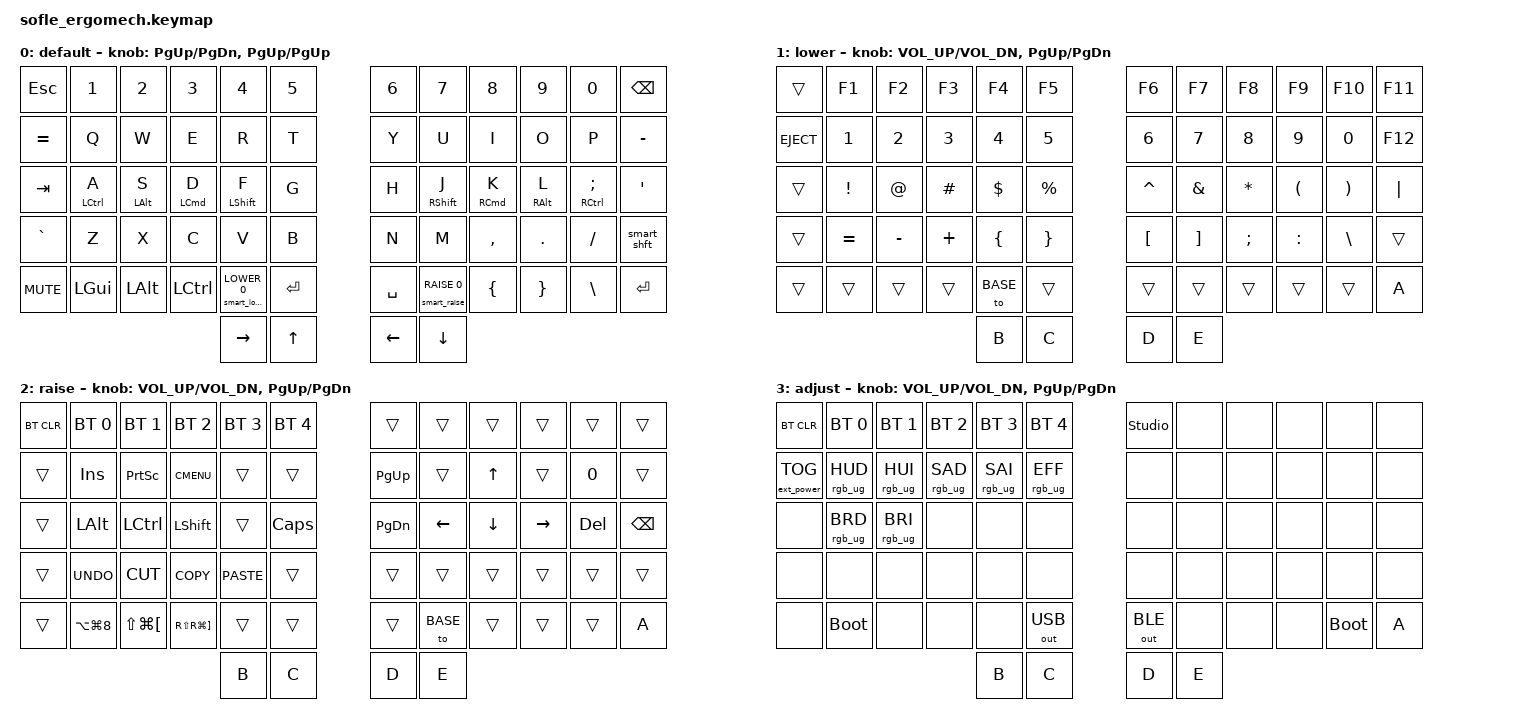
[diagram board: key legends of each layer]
/*
 * Copyright (c) 2020 The ZMK Contributors
 *
 * SPDX-License-Identifier: MIT
 */

#include <behaviors.dtsi>
#include <dt-bindings/zmk/bt.h>
#include <dt-bindings/zmk/ext_power.h>
#include <dt-bindings/zmk/keys.h>
#include <dt-bindings/zmk/outputs.h>
#include <dt-bindings/zmk/rgb.h>

// main adopted v2 on 2024-07-24
#include "zmk-helpers/helper.h"
#include "zmk-helpers/key-labels/sofle.h"

#include "urob-hrmods.h"

#define BASE 0
#define LOWER 1
#define RAISE 2
#define ADJUST 3



#include "sofle_ergomech.physical"

// macOS shortcuts

#define NEXT_TAB  &kp RS(RG(RIGHT_BRACKET))
#define PREV_TAB  &kp LS(LG(LEFT_BRACKET))

#define MAGNIFY   &kp    LA(LG(N8))
#define INVERT    &kp LC(LA(LG(N8)))

// K_EJECT not supported under macOS
// https://zmk.dev/docs/codes

// Single kp fails, see https://github.com/zmkfirmware/zmk/issues/2383

// #define DISPLAY_SLEEP  LS(LC(K_EJECT))
// #define D_SLP  &kp DISPLAY_SLEEP

// ZMK_MACRO(zzz, bindings = <&kp Z &kp Z &kp Z>;)

ZMK_MACRO(d_slp, bindings = \
	  <&macro_press &kp LSHFT>, \
	  <&macro_press &kp LCTRL>, \
	  <&macro_tap &kp K_EJECT>, \
	  <&macro_release &kp LCTRL>, \
	  <&macro_release &kp LSHFT>; \
	  )



/* jmk -- Layer buttons: tap - sticky | double - lock | hold - layer on */

// https://zmk.dev/docs/behaviors/layers
// 	&mo n    -- momentary
// 	&lt n kc -- layer when held, key when tapped
// 	&to n    -- enable layer, disable others except default
// 	&tog n   -- enable layer until disabled

// https://zmk.dev/docs/behaviors/sticky-layer
//	&sl n -- releases on next key down

// /* Global settings */

// #define QUICK_TAP_MS 175

// &sk {  // sticky-key config
//     release-after-ms = <900>;  // release after 0.6s
//     quick-release;             // no double capitalization when rolling keys
// };

// &sl {  // sticky-layer config
//     ignore-modifiers;          // allow chording sticky mods & layers
// };

// &lt {  // layer-tap config
//     flavor = "balanced";
//     tapping-term-ms = <200>;
//     quick-tap-ms = <QUICK_TAP_MS>;
// };

// ZMK_TAP_DANCE(raise_dance,
//     tapping-term-ms = <200>;
//     bindings = <&sl RAISE>, <&to RAISE>;
// )
// ZMK_TAP_DANCE(lower_dance,
//     tapping-term-ms = <200>;
//     bindings = <&sl LOWER>, <&to LOWER>;
// )

// This isn't clear to me why the intermediate behavior is needed

// ZMK_HOLD_TAP(raise_3way,
//     flavor = "balanced";
//     tapping-term-ms = <200>;
//     quick-tap-ms = <175>;
//     bindings = <&mo RAISE &raise_dance>;
// )
// ZMK_HOLD_TAP(lower_3way,
//     flavor = "balanced";
//     tapping-term-ms = <200>;
//     quick-tap-ms = <175>;
//     bindings = <&mo LOWER &lower_dance>;
// )


/* https://zmk.dev/docs/behaviors/hold-tap#using-different-behavior-types-with-hold-taps */

/*     You cannot use behaviors that expect more than one parameter such as  */
/*     &bt and &rgb_ug with hold-taps, due to the limitations of the         */
/*     devicetree keymap format. One workaround is to create a macro that    */
/*     invokes those behaviors and use the macro as the hold or tap action.  */

ZMK_MACRO(mo_lower, bindings = <&mo LOWER>;)
ZMK_MACRO(sl_lower, bindings = <&sl LOWER>;)
ZMK_MACRO(to_lower, bindings = <&to LOWER>;)

ZMK_MACRO(mo_raise, bindings = <&mo RAISE>;)
ZMK_MACRO(sl_raise, bindings = <&sl RAISE>;)
ZMK_MACRO(to_raise, bindings = <&to RAISE>;)

ZMK_HOLD_TAP(layer_ht, tapping-term-ms = <200>; bindings = <&mo>, <&sl>;)

#define LHT(layer) &layer_ht layer layer

/* hold-tap(&mo, tap-dance(&sl, &to)) */

ZMK_HOLD_TAP(smart_raise, tapping-term-ms = <200>; quick-tap-ms = <175>; bindings = <&mo>, <&raise_td>;)
ZMK_HOLD_TAP(smart_lower, tapping-term-ms = <200>; quick-tap-ms = <175>; bindings = <&mo>, <&lower_td>;)

#define S_RAISE &smart_raise RAISE 0
#define S_LOWER &smart_lower LOWER 0

/ {
    bindings {

        raise_td: raise_td {
            compatible = "zmk,behavior-tap-dance";
            #binding-cells = <0>;
	    tapping-term-ms = <200>;
            bindings = <&sl RAISE>, <&to RAISE>;
        };

        lower_td: lower_td {
            compatible = "zmk,behavior-tap-dance";
            #binding-cells = <0>;
	    tapping-term-ms = <200>;
            bindings = <&sl LOWER>, <&to LOWER>;
        };
    };
};


/ {

    // Activate ADJUST layer by pressing raise and lower

    conditional_layers {
        compatible = "zmk,conditional-layers";

        adjust_layer {
            if-layers = <LOWER RAISE>;
            then-layer = <ADJUST>;
        };
    };


    keymap {
        compatible = "zmk,keymap";

        default_layer {
            label = "default";

            bindings = <
//╭──────╮ ╭─────────────┬─────────────┬─────────────┬─────────────┬─────────────╮                   ╭─────────────┬─────────────┬─────────────┬─────────────┬─────────────╮ ╭──────╮
  &kp ESC      &kp N1        &kp N2        &kp N3        &kp N4        &kp N5                            &kp N6        &kp N7        &kp N8        &kp N9        &kp N0      &kp BSPC
//├──────┤ ├─────────────┼─────────────┼─────────────┼─────────────┼─────────────┤                   ├─────────────┼─────────────┼─────────────┼─────────────┼─────────────┤ ├──────┤
  &kp EQUAL    &kp Q         &kp W         &kp E         &kp R         &kp T                             &kp Y         &kp U         &kp I         &kp O         &kp P       &kp MINUS
//├──────┤ ├─────────────┼─────────────┼─────────────┼─────────────┼─────────────┤                   ├─────────────┼─────────────┼─────────────┼─────────────┼─────────────┤ ├──────┤
  &kp TAB   &hml LCTRL A  &hml LALT S   &hml LCMD D   &hml LSHFT F     &kp G                             &kp H      &hmr RSHFT J  &hmr RCMD K   &hmr RALT L   &hmr RCTRL SEMI &kp SQT
//├──────┤ ├─────────────┼─────────────┼─────────────┼─────────────┼─────────────┤                   ├─────────────┼─────────────┼─────────────┼─────────────┼─────────────┤ ├──────┤
  &kp GRAVE    &kp Z         &kp X         &kp C         &kp V         &kp B                             &kp N         &kp M        &kp COMMA      &kp DOT       &kp FSLH    &smart_shft
//├──────┤ ╰─────────────┼─────────────┼─────────────┼─────────────┼─────────────┤ ╭──────╮ ╭──────╮ ├─────────────┼─────────────┼─────────────┼─────────────┼─────────────╯ ├──────┤
  &kp C_MUTE                &kp LGUI      &kp LALT      &kp LCTRL      S_LOWER     &kp RET  &kp SPACE    S_RAISE      &kp LBRC      &kp RBRC       &kp BSLH                  &kp ENTER
//╰──────╯               ╰─────────────┴─────────────┴─────────────┴─────────────╯ ╰──────╯ ╰──────╯ ╰─────────────┴─────────────┴─────────────┴─────────────╯               ╰──────╯
// Roller                                                                                                                                                                     Stick
//                                                                                               Right         Left           Up           Down
//                                                                                          ╭─────────────┬─────────────┬─────────────┬─────────────╮
                                                                                               &kp RIGHT   &kp UP_ARROW    &kp LEFT      &kp DOWN
//                                                                                          ╰─────────────┴─────────────┴─────────────┴─────────────╯
            >;

            sensor-bindings = <&inc_dec_kp PG_UP PG_DN     &inc_dec_kp PG_UP PG_UP>;
        };

        lower_layer {
            label = "lower";

            // TODO: Some binds are waiting for shifted keycode support.

            bindings = <

//╭──────╮ ╭─────────────┬─────────────┬─────────────┬─────────────┬─────────────╮                   ╭─────────────┬─────────────┬─────────────┬─────────────┬─────────────╮ ╭──────╮
   &trans      &kp F1        &kp F2        &kp F3        &kp F4        &kp F5                            &kp F6        &kp F7        &kp F8        &kp F9        &kp F10     &kp F11
//├──────┤ ├─────────────┼─────────────┼─────────────┼─────────────┼─────────────┤                   ├─────────────┼─────────────┼─────────────┼─────────────┼─────────────┤ ├──────┤
   &kp K_EJECT      &kp N1        &kp N2        &kp N3        &kp N4        &kp N5                            &kp N6        &kp N7        &kp N8        &kp N9        &kp N0      &kp F12
//├──────┤ ├─────────────┼─────────────┼─────────────┼─────────────┼─────────────┤                   ├─────────────┼─────────────┼─────────────┼─────────────┼─────────────┤ ├──────┤
   &trans     &kp EXCL       &kp AT       &kp HASH      &kp DLLR      &kp PRCNT                         &kp CARET     &kp AMPS     &kp ASTRK      &kp LPAR      &kp RPAR     &kp PIPE
//├──────┤ ├─────────────┼─────────────┼─────────────┼─────────────┼─────────────┤                   ├─────────────┼─────────────┼─────────────┼─────────────┼─────────────┤ ├──────┤
   &trans     &kp EQUAL     &kp MINUS     &kp PLUS      &kp LBRC      &kp RBRC                          &kp LBKT      &kp RBKT      &kp SEMI      &kp COLON     &kp BSLH      &trans
//├──────┤ ╰─────────────┼─────────────┼─────────────┼─────────────┼─────────────┤ ╭──────╮ ╭──────╮ ├─────────────┼─────────────┼─────────────┼─────────────┼─────────────╯ ├──────┤
   &trans                    &trans        &trans        &trans        &to BASE     &trans   &trans      &trans        &trans        &trans        &trans                     &kp A
//╰──────╯               ╰─────────────┴─────────────┴─────────────┴─────────────╯ ╰──────╯ ╰──────╯ ╰─────────────┴─────────────┴─────────────┴─────────────╯               ╰──────╯
// Roller                                                                                                                                                                     Stick
//                                                                                               Right         Left           Up           Down
//                                                                                          ╭─────────────┬─────────────┬─────────────┬─────────────╮
                                                                                                 &kp B         &kp C         &kp D         &kp E
//                                                                                          ╰─────────────┴─────────────┴─────────────┴─────────────╯

            >;

            sensor-bindings = <&inc_dec_kp C_VOL_UP C_VOL_DN &inc_dec_kp PG_UP PG_DN>;
        };

        raise_layer {
            label = "raise";

            bindings = <
//╭──────╮ ╭─────────────┬─────────────┬─────────────┬─────────────┬─────────────╮                   ╭─────────────┬─────────────┬─────────────┬─────────────┬─────────────╮ ╭──────╮
  &bt BT_CLR &bt BT_SEL 0  &bt BT_SEL 1  &bt BT_SEL 2  &bt BT_SEL 3  &bt BT_SEL 4                       &trans          &trans       &trans        &trans        &trans       &trans
//├──────┤ ├─────────────┼─────────────┼─────────────┼─────────────┼─────────────┤                   ├─────────────┼─────────────┼─────────────┼─────────────┼─────────────┤ ├──────┤
   &trans      &kp INS      &kp PSCRN    &kp K_CMENU    &trans        &trans                            &kp PG_UP       &trans       &kp UP        &trans        &kp N0       &trans
//├──────┤ ├─────────────┼─────────────┼─────────────┼─────────────┼─────────────┤                   ├─────────────┼─────────────┼─────────────┼─────────────┼─────────────┤ ├──────┤
   &trans      &kp LALT     &kp LCTRL     &kp LSHFT     &trans        &kp CLCK                          &kp PG_DN      &kp LEFT     &kp DOWN      &kp RIGHT      &kp DEL     &kp BSPC
//├──────┤ ├─────────────┼─────────────┼─────────────┼─────────────┼─────────────┤                   ├─────────────┼─────────────┼─────────────┼─────────────┼─────────────┤ ├──────┤
   &trans    &kp K_UNDO     &kp K_CUT    &kp K_COPY    &kp K_PASTE    &trans                             &trans         &trans       &trans        &trans        &trans       &trans
//├──────┤ ╰─────────────┼─────────────┼─────────────┼─────────────┼─────────────┤ ╭──────╮ ╭──────╮ ├─────────────┼─────────────┼─────────────┼─────────────┼─────────────╯ ├──────┤
   &trans                    MAGNIFY      PREV_TAB      NEXT_TAB      &trans        &trans   &trans     &to BASE        &trans       &trans        &trans                     &kp A
//╰──────╯               ╰─────────────┴─────────────┴─────────────┴─────────────╯ ╰──────╯ ╰──────╯ ╰─────────────┴─────────────┴─────────────┴─────────────╯               ╰──────╯
// Roller                                                                                                                                                                     Stick
//                                                                                               Right         Left           Up           Down
//                                                                                          ╭─────────────┬─────────────┬─────────────┬─────────────╮
                                                                                                 &kp B         &kp C         &kp D        &kp E
//                                                                                          ╰─────────────┴─────────────┴─────────────┴─────────────╯

            >;

            sensor-bindings = <&inc_dec_kp C_VOL_UP C_VOL_DN &inc_dec_kp PG_UP PG_DN>;
        };

        adjust_layer {
            // ----------------------------------------------------------------------------------------------------------------------------
            // | BTCLR  |  BT1    |  BT2    |   BT3   |   BT4   |   BT5   |                  |      |      |       |      |       |       |
            // | EXTPWR | RGB_HUD | RGB_HUI | RGB_SAD | RGB_SAI | RGB_EFF |                  |      |      |       |      |       |       |
            // |        | RGB_BRD | RGB_BRI |         |         |         |                  |      |      |       |      |       |       |
            // |        |         |         |         |         |         |         | |      |      |      |       |      |       |       |
            //                    | BOOTLDR |         |         |         |  USB    | |  BT  |      |      |       | BOOTLDR     |

            label = "adjust";
            bindings = <
//╭──────╮ ╭─────────────┬─────────────┬─────────────┬─────────────┬─────────────╮                   ╭─────────────┬─────────────┬─────────────┬─────────────┬─────────────╮ ╭──────╮
  &bt BT_CLR &bt BT_SEL 0  &bt BT_SEL 1  &bt BT_SEL 2  &bt BT_SEL 3  &bt BT_SEL 4                    &studio_unlock     &none         &none         &none         &none       &none
//├──────┤ ├─────────────┼─────────────┼─────────────┼─────────────┼─────────────┤                   ├─────────────┼─────────────┼─────────────┼─────────────┼─────────────┤ ├──────┤
  &ext_power EP_TOG  &rgb_ug RGB_HUD  &rgb_ug RGB_HUI  &rgb_ug RGB_SAD  &rgb_ug RGB_SAI  &rgb_ug RGB_EFF &none          &none         &none         &none         &none       &none
//├──────┤ ├─────────────┼─────────────┼─────────────┼─────────────┼─────────────┤                   ├─────────────┼─────────────┼─────────────┼─────────────┼─────────────┤ ├──────┤
   &none             &rgb_ug RGB_BRD  &rgb_ug RGB_BRI  &none            &none            &none           &none          &none         &none         &none         &none       &none
//├──────┤ ├─────────────┼─────────────┼─────────────┼─────────────┼─────────────┤                   ├─────────────┼─────────────┼─────────────┼─────────────┼─────────────┤ ├──────┤
   &none       &none          &none         &none         &none         &none                            &none          &none         &none         &none         &none       &none
//├──────┤ ╰─────────────┼─────────────┼─────────────┼─────────────┼─────────────┤ ╭──────╮ ╭──────╮ ├─────────────┼─────────────┼─────────────┼─────────────┼─────────────╯ ├──────┤
   &none                   &bootloader      &none         &none         &none  &out OUT_USB &out OUT_BLE &none          &none          &none     &bootloader                  &kp A
//╰──────╯               ╰─────────────┴─────────────┴─────────────┴─────────────╯ ╰──────╯ ╰──────╯ ╰─────────────┴─────────────┴─────────────┴─────────────╯               ╰──────╯
// Roller                                                                                                                                                                     Stick
//                                                                                               Right         Left           Up           Down
//                                                                                          ╭─────────────┬─────────────┬─────────────┬─────────────╮
                                                                                                 &kp B         &kp C         &kp D         &kp E
//                                                                                          ╰─────────────┴─────────────┴─────────────┴─────────────╯

            >;

            sensor-bindings = <&inc_dec_kp C_VOL_UP C_VOL_DN &inc_dec_kp PG_UP PG_DN>;
        };
    };
};
